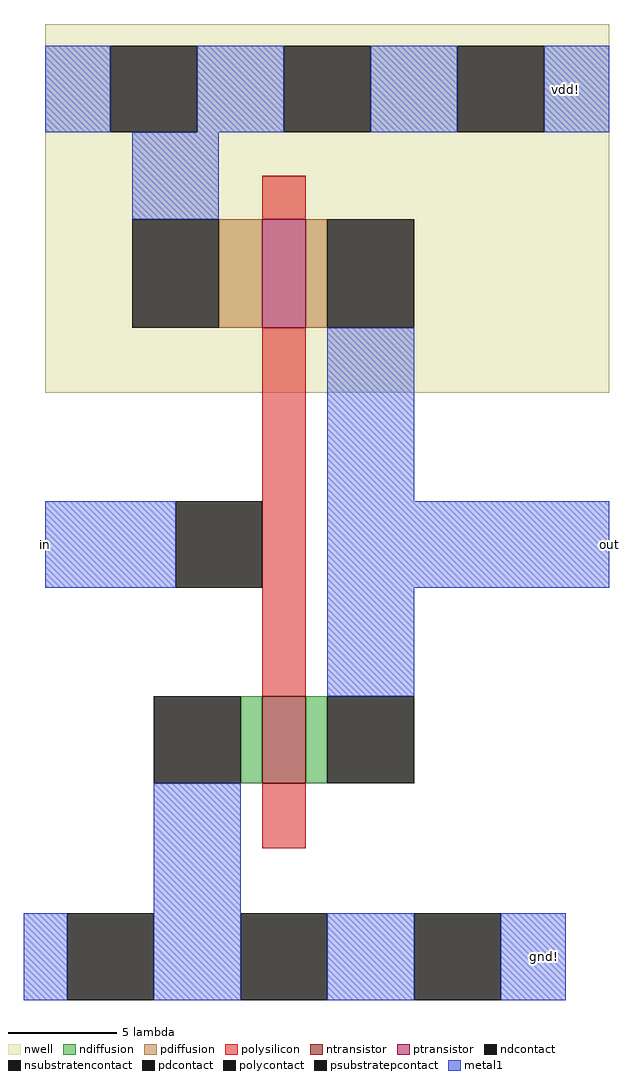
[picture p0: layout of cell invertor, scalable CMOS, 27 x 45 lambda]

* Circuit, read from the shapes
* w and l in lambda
.subckt invertor gnd! in out vdd!
M1 out in gnd! gnd! nfet w=4 l=2
M2 out in vdd! vdd! pfet w=5 l=2
.ends

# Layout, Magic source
magic
tech scmos
<< nwell >>
rect -11 -1 15 16
<< polysilicon >>
rect -1 7 1 9
rect -1 -15 1 2
rect -1 -22 1 -19
<< ndiffusion >>
rect -2 -19 -1 -15
rect 1 -19 2 -15
<< pdiffusion >>
rect -3 2 -1 7
rect 1 2 2 7
<< metal1 >>
rect -11 11 -8 15
rect -4 11 0 15
rect 4 11 8 15
rect 12 11 15 15
rect -7 7 -3 11
rect 2 -6 6 2
rect -11 -10 -5 -6
rect 2 -10 15 -6
rect 2 -15 6 -10
rect -12 -29 -10 -25
rect -6 -29 -2 -19
rect 2 -29 6 -25
rect 10 -29 13 -25
<< ntransistor >>
rect -1 -19 1 -15
<< ptransistor >>
rect -1 2 1 7
<< polycontact >>
rect -5 -10 -1 -6
<< ndcontact >>
rect -6 -19 -2 -15
rect 2 -19 6 -15
<< pdcontact >>
rect -7 2 -3 7
rect 2 2 6 7
<< psubstratepcontact >>
rect -10 -29 -6 -25
rect -2 -29 2 -25
rect 6 -29 10 -25
<< nsubstratencontact >>
rect -8 11 -4 15
rect 0 11 4 15
rect 8 11 12 15
<< labels >>
rlabel metal1 13 13 13 13 6 vdd!
rlabel metal1 12 -27 12 -27 8 gnd!
rlabel metal1 -11 -10 -11 -6 3 in
rlabel metal1 15 -10 15 -6 7 out
<< end >>
